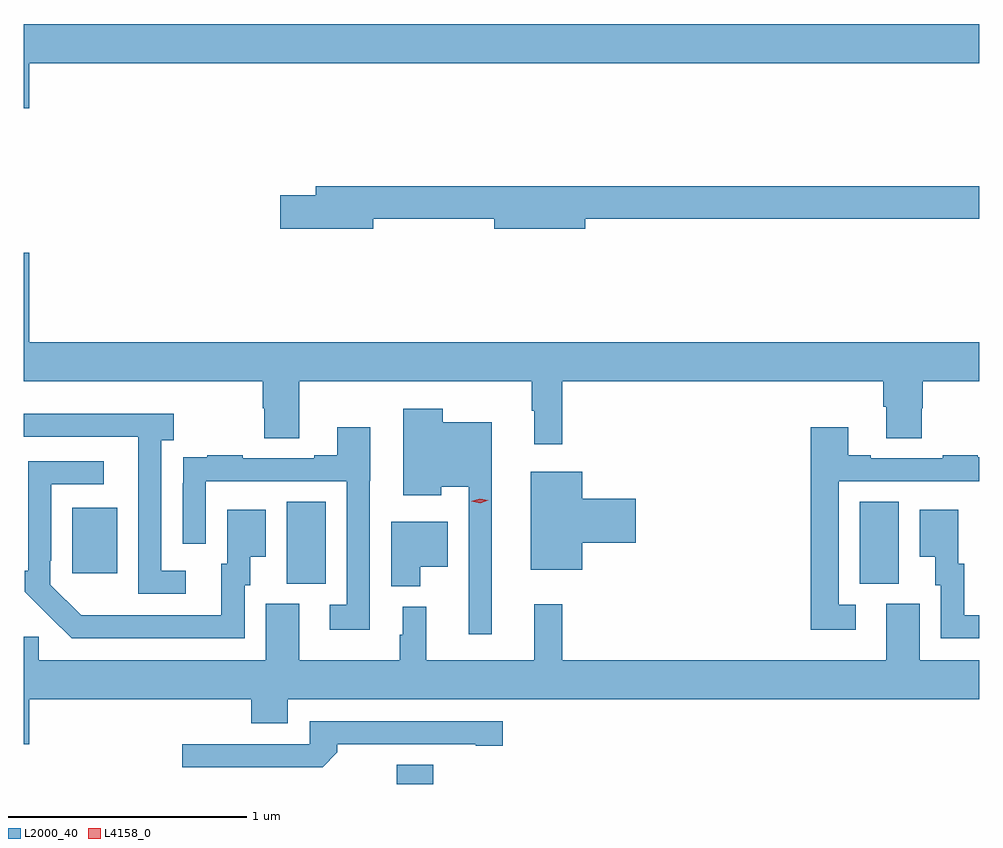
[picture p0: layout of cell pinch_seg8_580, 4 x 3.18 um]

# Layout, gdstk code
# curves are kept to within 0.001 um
import gdstk
lib = gdstk.Library(unit=1e-6, precision=1e-09)
def R(c, l, rs):  # rectangles x0, y0, x1, y1
    for r in rs: c.add(gdstk.rectangle(r[:2], r[2:], *l))
def P(c, l, *ps):  # polygons
    for p in ps: c.add(gdstk.Polygon(p, *l))
L2000_40 = (2000, 40)
L4158_0 = (4158, 0)

pinch_seg8_580 = lib.new_cell('pinch_seg8_580')
R(pinch_seg8_580, L2000_40, [(118.76,1085.51,118.913,1085.591), (118.298,1086.349,118.462,1086.692), (120.698,1086.349,120.862,1086.692), (117.401,1086.393,117.589,1086.667)])
P(pinch_seg8_580, L2000_40, [(117.22,1088.528),(121.198,1088.528),(121.198,1088.692),(117.198,1088.692),(117.198,1088.34),(117.22,1088.34)],
  [(118.66,1087.876),(119.168,1087.876),(119.168,1087.834),(119.548,1087.834),(119.548,1087.876),(121.198,1087.876),(121.198,1088.012),(118.421,1088.012),(118.421,1087.976),(118.272,1087.976),(118.272,1087.834),(118.66,1087.834)],
  [(119.453,1087.196),(120.797,1087.196),(120.797,1087.09),(120.809,1087.09),(120.809,1086.958),(120.957,1086.958),(120.957,1087.083),(120.962,1087.083),(120.962,1087.196),(121.198,1087.196),(121.198,1087.36),(117.22,1087.36),(117.22,1087.735),(117.198,1087.735),(117.198,1087.196),(118.199,1087.196),(118.199,1087.083),(118.204,1087.083),(118.204,1086.958),(118.351,1086.958),(118.351,1087.196),(119.325,1087.196),(119.325,1087.073),(119.336,1087.073),(119.336,1086.933),(119.453,1086.933)],
  [(119.158,1087.024),(118.953,1087.024),(118.953,1087.081),(118.787,1087.081),(118.787,1086.719),(118.945,1086.719),(118.945,1086.755),(119.061,1086.755),(119.061,1086.138),(119.158,1086.138)],
  [(117.877,1086.402),(117.774,1086.402),(117.774,1086.95),(117.826,1086.95),(117.826,1087.06),(117.198,1087.06),(117.198,1086.963),(117.677,1086.963),(117.677,1086.763),(117.678,1086.763),(117.678,1086.306),(117.877,1086.306)],
  [(120.682,1086.261),(120.609,1086.261),(120.609,1086.777),(121.198,1086.777),(121.198,1086.879),(121.193,1086.879),(121.193,1086.886),(121.045,1086.886),(121.045,1086.873),(120.745,1086.873),(120.745,1086.886),(120.649,1086.886),(120.649,1087.003),(120.493,1087.003),(120.493,1086.156),(120.682,1086.156)],
  [(118.647,1086.78),(118.648,1086.78),(118.648,1087.003),(118.511,1087.003),(118.511,1086.886),(118.415,1086.886),(118.415,1086.873),(118.115,1086.873),(118.115,1086.886),(117.967,1086.886),(117.967,1086.879),(117.865,1086.879),(117.865,1086.77),(117.864,1086.77),(117.864,1086.516),(117.96,1086.516),(117.96,1086.777),(118.551,1086.777),(118.551,1086.261),(118.479,1086.261),(118.479,1086.156),(118.647,1086.156)],
  [(118.122,1086.342),(118.147,1086.342),(118.147,1086.461),(118.21,1086.461),(118.21,1086.658),(118.049,1086.658),(118.049,1086.432),(118.025,1086.432),(118.025,1086.216),(117.438,1086.217),(117.309,1086.345),(117.309,1086.445),(117.312,1086.445),(117.312,1086.765),(117.532,1086.765),(117.532,1086.861),(117.216,1086.861),(117.216,1086.403),(117.201,1086.403),(117.201,1086.315),(117.398,1086.12),(118.122,1086.12)],
  [(119.536,1086.521),(119.761,1086.521),(119.761,1086.704),(119.536,1086.704),(119.536,1086.817),(119.321,1086.817),(119.321,1086.407),(119.536,1086.407)],
  [(121.198,1086.216),(121.135,1086.216),(121.135,1086.432),(121.111,1086.432),(121.111,1086.658),(120.95,1086.658),(120.95,1086.461),(121.013,1086.461),(121.013,1086.342),(121.038,1086.342),(121.038,1086.12),(121.198,1086.12)],
  [(118.858,1086.419),(118.972,1086.419),(118.972,1086.607),(118.736,1086.607),(118.736,1086.338),(118.858,1086.338)],
  [(117.22,1085.864),(118.151,1085.864),(118.151,1085.765),(118.303,1085.765),(118.303,1085.864),(121.198,1085.864),(121.198,1086.028),(120.949,1086.028),(120.949,1086.264),(120.809,1086.264),(120.809,1086.028),(119.453,1086.028),(119.453,1086.262),(119.336,1086.262),(119.336,1086.028),(118.883,1086.028),(118.883,1086.253),(118.784,1086.253),(118.784,1086.135),(118.773,1086.135),(118.773,1086.028),(118.351,1086.028),(118.351,1086.264),(118.211,1086.264),(118.211,1086.028),(117.261,1086.028),(117.261,1086.126),(117.198,1086.126),(117.198,1085.676),(117.22,1085.676)],
  [(118.511,1085.642),(118.511,1085.676),(119.09,1085.676),(119.09,1085.671),(119.203,1085.671),(119.203,1085.772),(118.395,1085.772),(118.395,1085.676),(117.861,1085.676),(117.861,1085.58),(118.449,1085.58)])
P(pinch_seg8_580, L4158_0, [(119.108,1086.685),(119.072,1086.693),(119.072,1086.693),(119.072,1086.693),(119.107,1086.705),(119.143,1086.697),(119.143,1086.697),(119.143,1086.697)])

lib.write_gds('pinch_seg8_580.gds')
